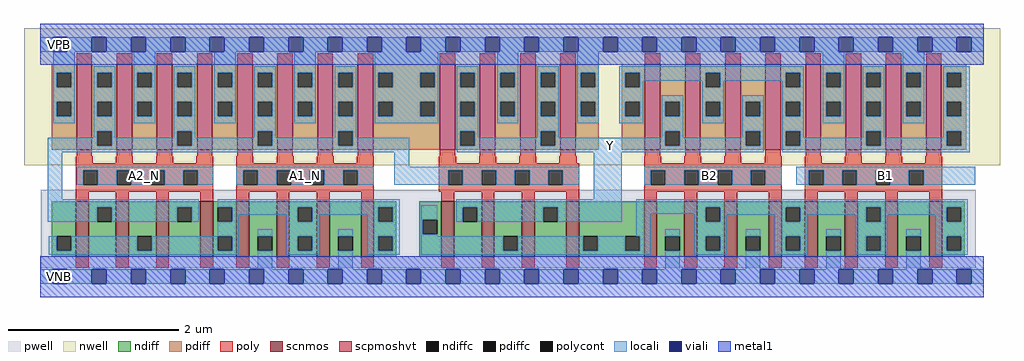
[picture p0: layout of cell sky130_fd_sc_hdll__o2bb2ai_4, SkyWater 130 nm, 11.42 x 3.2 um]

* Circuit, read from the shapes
.subckt sky130_fd_sc_hdll__o2bb2ai_4 A1_N A2_N B1 B2 VGND VNB VPB VPWR Y
XM1 n1 A2_N n2 VNB sky130_fd_pr__nfet_01v8 w=0.65 l=0.15 m=4
XM2 VGND A1_N n2 VNB sky130_fd_pr__nfet_01v8 w=0.65 l=0.15 m=4
XM3 Y n1 n3 VNB sky130_fd_pr__nfet_01v8 w=0.65 l=0.15 m=4
XM4 VGND B2 n3 VNB sky130_fd_pr__nfet_01v8 w=0.65 l=0.15 m=4
XM5 VGND B1 n3 VNB sky130_fd_pr__nfet_01v8 w=0.65 l=0.15 m=4
XM6 n1 A2_N VPWR VPB sky130_fd_pr__pfet_01v8_hvt w=1 l=0.18 m=4
XM7 n1 A1_N VPWR VPB sky130_fd_pr__pfet_01v8_hvt w=1 l=0.18 m=4
XM8 Y n1 VPWR VPB sky130_fd_pr__pfet_01v8_hvt w=1 l=0.18 m=4
XM9 Y B2 n4 VPB sky130_fd_pr__pfet_01v8_hvt w=1 l=0.18 m=4
XM10 VPWR B1 n4 VPB sky130_fd_pr__pfet_01v8_hvt w=1 l=0.18 m=4
.ends

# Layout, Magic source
magic
tech sky130A
magscale 1 2
<< nwell >>
rect -38 261 2246 582
<< pwell >>
rect 1 21 2189 203
rect 27 -17 61 21
<< scnmos >>
rect 83 47 113 177
rect 177 47 207 177
rect 271 47 301 177
rect 375 47 405 177
rect 459 47 489 177
rect 553 47 583 177
rect 647 47 677 177
rect 751 47 781 177
rect 939 47 969 177
rect 1033 47 1063 177
rect 1127 47 1157 177
rect 1231 47 1261 177
rect 1413 47 1443 177
rect 1507 47 1537 177
rect 1601 47 1631 177
rect 1705 47 1735 177
rect 1789 47 1819 177
rect 1883 47 1913 177
rect 1977 47 2007 177
rect 2081 47 2111 177
<< scpmoshvt >>
rect 85 297 121 497
rect 179 297 215 497
rect 273 297 309 497
rect 367 297 403 497
rect 461 297 497 497
rect 555 297 591 497
rect 649 297 685 497
rect 743 297 779 497
rect 935 297 971 497
rect 1029 297 1065 497
rect 1123 297 1159 497
rect 1217 297 1253 497
rect 1415 297 1451 497
rect 1509 297 1545 497
rect 1603 297 1639 497
rect 1697 297 1733 497
rect 1791 297 1827 497
rect 1885 297 1921 497
rect 1979 297 2015 497
rect 2073 297 2109 497
<< ndiff >>
rect 27 95 83 177
rect 27 61 39 95
rect 73 61 83 95
rect 27 47 83 61
rect 113 163 177 177
rect 113 129 133 163
rect 167 129 177 163
rect 113 47 177 129
rect 207 95 271 177
rect 207 61 227 95
rect 261 61 271 95
rect 207 47 271 61
rect 301 163 375 177
rect 301 129 321 163
rect 355 129 375 163
rect 301 47 375 129
rect 405 163 459 177
rect 405 129 415 163
rect 449 129 459 163
rect 405 95 459 129
rect 405 61 415 95
rect 449 61 459 95
rect 405 47 459 61
rect 489 95 553 177
rect 489 61 509 95
rect 543 61 553 95
rect 489 47 553 61
rect 583 163 647 177
rect 583 129 603 163
rect 637 129 647 163
rect 583 95 647 129
rect 583 61 603 95
rect 637 61 647 95
rect 583 47 647 61
rect 677 95 751 177
rect 677 61 697 95
rect 731 61 751 95
rect 677 47 751 61
rect 781 163 833 177
rect 781 129 791 163
rect 825 129 833 163
rect 781 95 833 129
rect 781 61 791 95
rect 825 61 833 95
rect 781 47 833 61
rect 887 133 939 177
rect 887 99 895 133
rect 929 99 939 133
rect 887 47 939 99
rect 969 163 1033 177
rect 969 129 989 163
rect 1023 129 1033 163
rect 969 47 1033 129
rect 1063 95 1127 177
rect 1063 61 1083 95
rect 1117 61 1127 95
rect 1063 47 1127 61
rect 1157 163 1231 177
rect 1157 129 1177 163
rect 1211 129 1231 163
rect 1157 47 1231 129
rect 1261 95 1413 177
rect 1261 61 1271 95
rect 1305 61 1369 95
rect 1403 61 1413 95
rect 1261 47 1413 61
rect 1443 95 1507 177
rect 1443 61 1463 95
rect 1497 61 1507 95
rect 1443 47 1507 61
rect 1537 163 1601 177
rect 1537 129 1557 163
rect 1591 129 1601 163
rect 1537 95 1601 129
rect 1537 61 1557 95
rect 1591 61 1601 95
rect 1537 47 1601 61
rect 1631 95 1705 177
rect 1631 61 1651 95
rect 1685 61 1705 95
rect 1631 47 1705 61
rect 1735 163 1789 177
rect 1735 129 1745 163
rect 1779 129 1789 163
rect 1735 95 1789 129
rect 1735 61 1745 95
rect 1779 61 1789 95
rect 1735 47 1789 61
rect 1819 95 1883 177
rect 1819 61 1839 95
rect 1873 61 1883 95
rect 1819 47 1883 61
rect 1913 163 1977 177
rect 1913 129 1933 163
rect 1967 129 1977 163
rect 1913 95 1977 129
rect 1913 61 1933 95
rect 1967 61 1977 95
rect 1913 47 1977 61
rect 2007 95 2081 177
rect 2007 61 2027 95
rect 2061 61 2081 95
rect 2007 47 2081 61
rect 2111 163 2163 177
rect 2111 129 2121 163
rect 2155 129 2163 163
rect 2111 95 2163 129
rect 2111 61 2121 95
rect 2155 61 2163 95
rect 2111 47 2163 61
<< pdiff >>
rect 27 477 85 497
rect 27 443 39 477
rect 73 443 85 477
rect 27 409 85 443
rect 27 375 39 409
rect 73 375 85 409
rect 27 297 85 375
rect 121 477 179 497
rect 121 443 133 477
rect 167 443 179 477
rect 121 409 179 443
rect 121 375 133 409
rect 167 375 179 409
rect 121 341 179 375
rect 121 307 133 341
rect 167 307 179 341
rect 121 297 179 307
rect 215 477 273 497
rect 215 443 227 477
rect 261 443 273 477
rect 215 409 273 443
rect 215 375 227 409
rect 261 375 273 409
rect 215 297 273 375
rect 309 477 367 497
rect 309 443 321 477
rect 355 443 367 477
rect 309 409 367 443
rect 309 375 321 409
rect 355 375 367 409
rect 309 341 367 375
rect 309 307 321 341
rect 355 307 367 341
rect 309 297 367 307
rect 403 477 461 497
rect 403 443 415 477
rect 449 443 461 477
rect 403 409 461 443
rect 403 375 415 409
rect 449 375 461 409
rect 403 297 461 375
rect 497 477 555 497
rect 497 443 509 477
rect 543 443 555 477
rect 497 409 555 443
rect 497 375 509 409
rect 543 375 555 409
rect 497 341 555 375
rect 497 307 509 341
rect 543 307 555 341
rect 497 297 555 307
rect 591 477 649 497
rect 591 443 603 477
rect 637 443 649 477
rect 591 409 649 443
rect 591 375 603 409
rect 637 375 649 409
rect 591 297 649 375
rect 685 477 743 497
rect 685 443 697 477
rect 731 443 743 477
rect 685 409 743 443
rect 685 375 697 409
rect 731 375 743 409
rect 685 341 743 375
rect 685 307 697 341
rect 731 307 743 341
rect 685 297 743 307
rect 779 477 935 497
rect 779 443 791 477
rect 825 443 889 477
rect 923 443 935 477
rect 779 409 935 443
rect 779 375 791 409
rect 825 375 889 409
rect 923 375 935 409
rect 779 297 935 375
rect 971 477 1029 497
rect 971 443 983 477
rect 1017 443 1029 477
rect 971 409 1029 443
rect 971 375 983 409
rect 1017 375 1029 409
rect 971 341 1029 375
rect 971 307 983 341
rect 1017 307 1029 341
rect 971 297 1029 307
rect 1065 477 1123 497
rect 1065 443 1077 477
rect 1111 443 1123 477
rect 1065 409 1123 443
rect 1065 375 1077 409
rect 1111 375 1123 409
rect 1065 297 1123 375
rect 1159 477 1217 497
rect 1159 443 1171 477
rect 1205 443 1217 477
rect 1159 409 1217 443
rect 1159 375 1171 409
rect 1205 375 1217 409
rect 1159 341 1217 375
rect 1159 307 1171 341
rect 1205 307 1217 341
rect 1159 297 1217 307
rect 1253 477 1307 497
rect 1253 443 1265 477
rect 1299 443 1307 477
rect 1253 409 1307 443
rect 1253 375 1265 409
rect 1299 375 1307 409
rect 1253 297 1307 375
rect 1361 477 1415 497
rect 1361 443 1369 477
rect 1403 443 1415 477
rect 1361 409 1415 443
rect 1361 375 1369 409
rect 1403 375 1415 409
rect 1361 297 1415 375
rect 1451 409 1509 497
rect 1451 375 1463 409
rect 1497 375 1509 409
rect 1451 341 1509 375
rect 1451 307 1463 341
rect 1497 307 1509 341
rect 1451 297 1509 307
rect 1545 477 1603 497
rect 1545 443 1557 477
rect 1591 443 1603 477
rect 1545 409 1603 443
rect 1545 375 1557 409
rect 1591 375 1603 409
rect 1545 297 1603 375
rect 1639 409 1697 497
rect 1639 375 1651 409
rect 1685 375 1697 409
rect 1639 341 1697 375
rect 1639 307 1651 341
rect 1685 307 1697 341
rect 1639 297 1697 307
rect 1733 477 1791 497
rect 1733 443 1745 477
rect 1779 443 1791 477
rect 1733 409 1791 443
rect 1733 375 1745 409
rect 1779 375 1791 409
rect 1733 341 1791 375
rect 1733 307 1745 341
rect 1779 307 1791 341
rect 1733 297 1791 307
rect 1827 477 1885 497
rect 1827 443 1839 477
rect 1873 443 1885 477
rect 1827 409 1885 443
rect 1827 375 1839 409
rect 1873 375 1885 409
rect 1827 297 1885 375
rect 1921 477 1979 497
rect 1921 443 1933 477
rect 1967 443 1979 477
rect 1921 409 1979 443
rect 1921 375 1933 409
rect 1967 375 1979 409
rect 1921 341 1979 375
rect 1921 307 1933 341
rect 1967 307 1979 341
rect 1921 297 1979 307
rect 2015 477 2073 497
rect 2015 443 2027 477
rect 2061 443 2073 477
rect 2015 409 2073 443
rect 2015 375 2027 409
rect 2061 375 2073 409
rect 2015 297 2073 375
rect 2109 477 2167 497
rect 2109 443 2121 477
rect 2155 443 2167 477
rect 2109 409 2167 443
rect 2109 375 2121 409
rect 2155 375 2167 409
rect 2109 341 2167 375
rect 2109 307 2121 341
rect 2155 307 2167 341
rect 2109 297 2167 307
<< ndiffc >>
rect 39 61 73 95
rect 133 129 167 163
rect 227 61 261 95
rect 321 129 355 163
rect 415 129 449 163
rect 415 61 449 95
rect 509 61 543 95
rect 603 129 637 163
rect 603 61 637 95
rect 697 61 731 95
rect 791 129 825 163
rect 791 61 825 95
rect 895 99 929 133
rect 989 129 1023 163
rect 1083 61 1117 95
rect 1177 129 1211 163
rect 1271 61 1305 95
rect 1369 61 1403 95
rect 1463 61 1497 95
rect 1557 129 1591 163
rect 1557 61 1591 95
rect 1651 61 1685 95
rect 1745 129 1779 163
rect 1745 61 1779 95
rect 1839 61 1873 95
rect 1933 129 1967 163
rect 1933 61 1967 95
rect 2027 61 2061 95
rect 2121 129 2155 163
rect 2121 61 2155 95
<< pdiffc >>
rect 39 443 73 477
rect 39 375 73 409
rect 133 443 167 477
rect 133 375 167 409
rect 133 307 167 341
rect 227 443 261 477
rect 227 375 261 409
rect 321 443 355 477
rect 321 375 355 409
rect 321 307 355 341
rect 415 443 449 477
rect 415 375 449 409
rect 509 443 543 477
rect 509 375 543 409
rect 509 307 543 341
rect 603 443 637 477
rect 603 375 637 409
rect 697 443 731 477
rect 697 375 731 409
rect 697 307 731 341
rect 791 443 825 477
rect 889 443 923 477
rect 791 375 825 409
rect 889 375 923 409
rect 983 443 1017 477
rect 983 375 1017 409
rect 983 307 1017 341
rect 1077 443 1111 477
rect 1077 375 1111 409
rect 1171 443 1205 477
rect 1171 375 1205 409
rect 1171 307 1205 341
rect 1265 443 1299 477
rect 1265 375 1299 409
rect 1369 443 1403 477
rect 1369 375 1403 409
rect 1463 375 1497 409
rect 1463 307 1497 341
rect 1557 443 1591 477
rect 1557 375 1591 409
rect 1651 375 1685 409
rect 1651 307 1685 341
rect 1745 443 1779 477
rect 1745 375 1779 409
rect 1745 307 1779 341
rect 1839 443 1873 477
rect 1839 375 1873 409
rect 1933 443 1967 477
rect 1933 375 1967 409
rect 1933 307 1967 341
rect 2027 443 2061 477
rect 2027 375 2061 409
rect 2121 443 2155 477
rect 2121 375 2155 409
rect 2121 307 2155 341
<< poly >>
rect 85 497 121 523
rect 179 497 215 523
rect 273 497 309 523
rect 367 497 403 523
rect 461 497 497 523
rect 555 497 591 523
rect 649 497 685 523
rect 743 497 779 523
rect 935 497 971 523
rect 1029 497 1065 523
rect 1123 497 1159 523
rect 1217 497 1253 523
rect 1415 497 1451 523
rect 1509 497 1545 523
rect 1603 497 1639 523
rect 1697 497 1733 523
rect 1791 497 1827 523
rect 1885 497 1921 523
rect 1979 497 2015 523
rect 2073 497 2109 523
rect 85 282 121 297
rect 179 282 215 297
rect 273 282 309 297
rect 367 282 403 297
rect 461 282 497 297
rect 555 282 591 297
rect 649 282 685 297
rect 743 282 779 297
rect 935 282 971 297
rect 1029 282 1065 297
rect 1123 282 1159 297
rect 1217 282 1253 297
rect 1415 282 1451 297
rect 1509 282 1545 297
rect 1603 282 1639 297
rect 1697 282 1733 297
rect 1791 282 1827 297
rect 1885 282 1921 297
rect 1979 282 2015 297
rect 2073 282 2109 297
rect 83 265 123 282
rect 177 265 217 282
rect 271 265 311 282
rect 365 265 405 282
rect 83 249 405 265
rect 83 215 101 249
rect 135 215 179 249
rect 213 215 257 249
rect 291 215 335 249
rect 369 215 405 249
rect 83 199 405 215
rect 83 177 113 199
rect 177 177 207 199
rect 271 177 301 199
rect 375 177 405 199
rect 459 265 499 282
rect 553 265 593 282
rect 647 265 687 282
rect 741 265 781 282
rect 459 249 781 265
rect 459 215 475 249
rect 509 215 553 249
rect 587 215 631 249
rect 665 215 709 249
rect 743 215 781 249
rect 459 199 781 215
rect 933 265 973 282
rect 1027 265 1067 282
rect 1121 265 1161 282
rect 1215 265 1255 282
rect 1413 265 1453 282
rect 1507 265 1547 282
rect 1601 265 1641 282
rect 1695 265 1735 282
rect 933 249 1261 265
rect 933 215 955 249
rect 989 215 1033 249
rect 1067 215 1111 249
rect 1145 215 1189 249
rect 1223 215 1261 249
rect 933 199 1261 215
rect 459 177 489 199
rect 553 177 583 199
rect 647 177 677 199
rect 751 177 781 199
rect 939 177 969 199
rect 1033 177 1063 199
rect 1127 177 1157 199
rect 1231 177 1261 199
rect 1413 249 1735 265
rect 1413 215 1429 249
rect 1463 215 1507 249
rect 1541 215 1585 249
rect 1619 215 1663 249
rect 1697 215 1735 249
rect 1413 199 1735 215
rect 1413 177 1443 199
rect 1507 177 1537 199
rect 1601 177 1631 199
rect 1705 177 1735 199
rect 1789 265 1829 282
rect 1883 265 1923 282
rect 1977 265 2017 282
rect 2071 265 2111 282
rect 1789 249 2111 265
rect 1789 215 1799 249
rect 1833 215 1877 249
rect 1911 215 1955 249
rect 1989 215 2033 249
rect 2067 215 2111 249
rect 1789 199 2111 215
rect 1789 177 1819 199
rect 1883 177 1913 199
rect 1977 177 2007 199
rect 2081 177 2111 199
rect 83 21 113 47
rect 177 21 207 47
rect 271 21 301 47
rect 375 21 405 47
rect 459 21 489 47
rect 553 21 583 47
rect 647 21 677 47
rect 751 21 781 47
rect 939 21 969 47
rect 1033 21 1063 47
rect 1127 21 1157 47
rect 1231 21 1261 47
rect 1413 21 1443 47
rect 1507 21 1537 47
rect 1601 21 1631 47
rect 1705 21 1735 47
rect 1789 21 1819 47
rect 1883 21 1913 47
rect 1977 21 2007 47
rect 2081 21 2111 47
<< polycont >>
rect 101 215 135 249
rect 179 215 213 249
rect 257 215 291 249
rect 335 215 369 249
rect 475 215 509 249
rect 553 215 587 249
rect 631 215 665 249
rect 709 215 743 249
rect 955 215 989 249
rect 1033 215 1067 249
rect 1111 215 1145 249
rect 1189 215 1223 249
rect 1429 215 1463 249
rect 1507 215 1541 249
rect 1585 215 1619 249
rect 1663 215 1697 249
rect 1799 215 1833 249
rect 1877 215 1911 249
rect 1955 215 1989 249
rect 2033 215 2067 249
<< locali >>
rect 0 527 29 561
rect 63 527 121 561
rect 155 527 213 561
rect 247 527 305 561
rect 339 527 397 561
rect 431 527 489 561
rect 523 527 581 561
rect 615 527 673 561
rect 707 527 765 561
rect 799 527 857 561
rect 891 527 949 561
rect 983 527 1041 561
rect 1075 527 1133 561
rect 1167 527 1225 561
rect 1259 527 1317 561
rect 1351 527 1409 561
rect 1443 527 1501 561
rect 1535 527 1593 561
rect 1627 527 1685 561
rect 1719 527 1777 561
rect 1811 527 1869 561
rect 1903 527 1961 561
rect 1995 527 2053 561
rect 2087 527 2145 561
rect 2179 527 2208 561
rect 31 477 81 527
rect 31 443 39 477
rect 73 443 81 477
rect 31 409 81 443
rect 31 375 39 409
rect 73 375 81 409
rect 31 359 81 375
rect 125 477 175 493
rect 125 443 133 477
rect 167 443 175 477
rect 125 409 175 443
rect 125 375 133 409
rect 167 375 175 409
rect 125 341 175 375
rect 219 477 269 527
rect 219 443 227 477
rect 261 443 269 477
rect 219 409 269 443
rect 219 375 227 409
rect 261 375 269 409
rect 219 359 269 375
rect 313 477 363 493
rect 313 443 321 477
rect 355 443 363 477
rect 313 409 363 443
rect 313 375 321 409
rect 355 375 363 409
rect 125 325 133 341
rect 17 307 133 325
rect 167 325 175 341
rect 313 341 363 375
rect 407 477 457 527
rect 407 443 415 477
rect 449 443 457 477
rect 407 409 457 443
rect 407 375 415 409
rect 449 375 457 409
rect 407 359 457 375
rect 501 477 551 493
rect 501 443 509 477
rect 543 443 551 477
rect 501 409 551 443
rect 501 375 509 409
rect 543 375 551 409
rect 313 325 321 341
rect 167 307 321 325
rect 355 325 363 341
rect 501 341 551 375
rect 595 477 645 527
rect 595 443 603 477
rect 637 443 645 477
rect 595 409 645 443
rect 595 375 603 409
rect 637 375 645 409
rect 595 359 645 375
rect 689 477 739 493
rect 689 443 697 477
rect 731 443 739 477
rect 689 409 739 443
rect 689 375 697 409
rect 731 375 739 409
rect 501 325 509 341
rect 355 307 509 325
rect 543 325 551 341
rect 689 341 739 375
rect 783 477 931 527
rect 783 443 791 477
rect 825 443 889 477
rect 923 443 931 477
rect 783 409 931 443
rect 783 375 791 409
rect 825 375 889 409
rect 923 375 931 409
rect 783 359 931 375
rect 975 477 1025 493
rect 975 443 983 477
rect 1017 443 1025 477
rect 975 409 1025 443
rect 975 375 983 409
rect 1017 375 1025 409
rect 689 325 697 341
rect 543 307 697 325
rect 731 325 739 341
rect 975 341 1025 375
rect 1069 477 1119 527
rect 1069 443 1077 477
rect 1111 443 1119 477
rect 1069 409 1119 443
rect 1069 375 1077 409
rect 1111 375 1119 409
rect 1069 359 1119 375
rect 1163 477 1213 493
rect 1163 443 1171 477
rect 1205 443 1213 477
rect 1163 409 1213 443
rect 1163 375 1171 409
rect 1205 375 1213 409
rect 731 307 863 325
rect 17 291 863 307
rect 975 307 983 341
rect 1017 325 1025 341
rect 1163 341 1213 375
rect 1257 477 1307 527
rect 1257 443 1265 477
rect 1299 443 1307 477
rect 1257 409 1307 443
rect 1257 375 1265 409
rect 1299 375 1307 409
rect 1257 359 1307 375
rect 1355 477 1787 493
rect 1355 443 1369 477
rect 1403 459 1557 477
rect 1403 443 1411 459
rect 1355 409 1411 443
rect 1549 443 1557 459
rect 1591 459 1745 477
rect 1591 443 1599 459
rect 1355 375 1369 409
rect 1403 375 1411 409
rect 1355 359 1411 375
rect 1455 409 1505 425
rect 1455 375 1463 409
rect 1497 375 1505 409
rect 1163 325 1171 341
rect 1017 307 1171 325
rect 1205 325 1213 341
rect 1455 341 1505 375
rect 1549 409 1599 443
rect 1737 443 1745 459
rect 1779 443 1787 477
rect 1549 375 1557 409
rect 1591 375 1599 409
rect 1549 359 1599 375
rect 1643 409 1693 425
rect 1643 375 1651 409
rect 1685 375 1693 409
rect 1455 325 1463 341
rect 1205 307 1463 325
rect 1497 325 1505 341
rect 1643 341 1693 375
rect 1643 325 1651 341
rect 1497 307 1651 325
rect 1685 307 1693 341
rect 975 291 1693 307
rect 1737 409 1787 443
rect 1737 375 1745 409
rect 1779 375 1787 409
rect 1737 341 1787 375
rect 1831 477 1881 527
rect 1831 443 1839 477
rect 1873 443 1881 477
rect 1831 409 1881 443
rect 1831 375 1839 409
rect 1873 375 1881 409
rect 1831 359 1881 375
rect 1925 477 1975 493
rect 1925 443 1933 477
rect 1967 443 1975 477
rect 1925 409 1975 443
rect 1925 375 1933 409
rect 1967 375 1975 409
rect 1737 307 1745 341
rect 1779 325 1787 341
rect 1925 341 1975 375
rect 2019 477 2069 527
rect 2019 443 2027 477
rect 2061 443 2069 477
rect 2019 409 2069 443
rect 2019 375 2027 409
rect 2061 375 2069 409
rect 2019 359 2069 375
rect 2113 477 2175 493
rect 2113 443 2121 477
rect 2155 443 2175 477
rect 2113 409 2175 443
rect 2113 375 2121 409
rect 2155 375 2175 409
rect 1925 325 1933 341
rect 1779 307 1933 325
rect 1967 325 1975 341
rect 2113 341 2175 375
rect 2113 325 2121 341
rect 1967 307 2121 325
rect 2155 307 2175 341
rect 1737 291 2175 307
rect 17 181 51 291
rect 829 257 863 291
rect 85 249 405 257
rect 85 215 101 249
rect 135 215 179 249
rect 213 215 257 249
rect 291 215 335 249
rect 369 215 405 249
rect 459 249 781 257
rect 459 215 475 249
rect 509 215 553 249
rect 587 215 631 249
rect 665 215 709 249
rect 743 215 781 249
rect 829 249 1261 257
rect 829 215 955 249
rect 989 215 1033 249
rect 1067 215 1111 249
rect 1145 215 1189 249
rect 1223 215 1261 249
rect 1295 181 1361 291
rect 1413 249 1735 257
rect 1413 215 1429 249
rect 1463 215 1507 249
rect 1541 215 1585 249
rect 1619 215 1663 249
rect 1697 215 1735 249
rect 1769 249 2188 257
rect 1769 215 1799 249
rect 1833 215 1877 249
rect 1911 215 1955 249
rect 1989 215 2033 249
rect 2067 215 2188 249
rect 17 163 371 181
rect 17 129 133 163
rect 167 129 321 163
rect 355 129 371 163
rect 415 163 841 181
rect 449 145 603 163
rect 449 129 465 145
rect 415 95 465 129
rect 577 129 603 145
rect 637 145 791 163
rect 637 129 653 145
rect 20 61 39 95
rect 73 61 227 95
rect 261 61 415 95
rect 449 61 465 95
rect 20 51 465 61
rect 509 95 543 111
rect 509 17 543 61
rect 577 95 653 129
rect 765 129 791 145
rect 825 129 841 163
rect 577 61 603 95
rect 637 61 653 95
rect 577 51 653 61
rect 697 95 731 111
rect 697 17 731 61
rect 765 95 841 129
rect 765 61 791 95
rect 825 61 841 95
rect 765 51 841 61
rect 892 133 929 167
rect 892 99 895 133
rect 973 163 1361 181
rect 973 129 989 163
rect 1023 129 1177 163
rect 1211 129 1361 163
rect 1395 163 2171 181
rect 1395 147 1557 163
rect 892 95 929 99
rect 1395 95 1429 147
rect 1531 129 1557 147
rect 1591 145 1745 163
rect 1591 129 1607 145
rect 892 61 1083 95
rect 1117 61 1271 95
rect 1305 61 1369 95
rect 1403 61 1429 95
rect 892 51 1429 61
rect 1463 95 1497 111
rect 1463 17 1497 61
rect 1531 95 1607 129
rect 1719 129 1745 145
rect 1779 145 1933 163
rect 1779 129 1795 145
rect 1531 61 1557 95
rect 1591 61 1607 95
rect 1531 51 1607 61
rect 1651 95 1685 111
rect 1651 17 1685 61
rect 1719 95 1795 129
rect 1907 129 1933 145
rect 1967 145 2121 163
rect 1967 129 1983 145
rect 1719 61 1745 95
rect 1779 61 1795 95
rect 1719 51 1795 61
rect 1839 95 1873 111
rect 1839 17 1873 61
rect 1907 95 1983 129
rect 2095 129 2121 145
rect 2155 129 2171 163
rect 1907 61 1933 95
rect 1967 61 1983 95
rect 1907 51 1983 61
rect 2027 95 2061 111
rect 2027 17 2061 61
rect 2095 95 2171 129
rect 2095 61 2121 95
rect 2155 61 2171 95
rect 2095 51 2171 61
rect 0 -17 29 17
rect 63 -17 121 17
rect 155 -17 213 17
rect 247 -17 305 17
rect 339 -17 397 17
rect 431 -17 489 17
rect 523 -17 581 17
rect 615 -17 673 17
rect 707 -17 765 17
rect 799 -17 857 17
rect 891 -17 949 17
rect 983 -17 1041 17
rect 1075 -17 1133 17
rect 1167 -17 1225 17
rect 1259 -17 1317 17
rect 1351 -17 1409 17
rect 1443 -17 1501 17
rect 1535 -17 1593 17
rect 1627 -17 1685 17
rect 1719 -17 1777 17
rect 1811 -17 1869 17
rect 1903 -17 1961 17
rect 1995 -17 2053 17
rect 2087 -17 2145 17
rect 2179 -17 2208 17
<< viali >>
rect 29 527 63 561
rect 121 527 155 561
rect 213 527 247 561
rect 305 527 339 561
rect 397 527 431 561
rect 489 527 523 561
rect 581 527 615 561
rect 673 527 707 561
rect 765 527 799 561
rect 857 527 891 561
rect 949 527 983 561
rect 1041 527 1075 561
rect 1133 527 1167 561
rect 1225 527 1259 561
rect 1317 527 1351 561
rect 1409 527 1443 561
rect 1501 527 1535 561
rect 1593 527 1627 561
rect 1685 527 1719 561
rect 1777 527 1811 561
rect 1869 527 1903 561
rect 1961 527 1995 561
rect 2053 527 2087 561
rect 2145 527 2179 561
rect 29 -17 63 17
rect 121 -17 155 17
rect 213 -17 247 17
rect 305 -17 339 17
rect 397 -17 431 17
rect 489 -17 523 17
rect 581 -17 615 17
rect 673 -17 707 17
rect 765 -17 799 17
rect 857 -17 891 17
rect 949 -17 983 17
rect 1041 -17 1075 17
rect 1133 -17 1167 17
rect 1225 -17 1259 17
rect 1317 -17 1351 17
rect 1409 -17 1443 17
rect 1501 -17 1535 17
rect 1593 -17 1627 17
rect 1685 -17 1719 17
rect 1777 -17 1811 17
rect 1869 -17 1903 17
rect 1961 -17 1995 17
rect 2053 -17 2087 17
rect 2145 -17 2179 17
<< metal1 >>
rect 0 561 2208 592
rect 0 527 29 561
rect 63 527 121 561
rect 155 527 213 561
rect 247 527 305 561
rect 339 527 397 561
rect 431 527 489 561
rect 523 527 581 561
rect 615 527 673 561
rect 707 527 765 561
rect 799 527 857 561
rect 891 527 949 561
rect 983 527 1041 561
rect 1075 527 1133 561
rect 1167 527 1225 561
rect 1259 527 1317 561
rect 1351 527 1409 561
rect 1443 527 1501 561
rect 1535 527 1593 561
rect 1627 527 1685 561
rect 1719 527 1777 561
rect 1811 527 1869 561
rect 1903 527 1961 561
rect 1995 527 2053 561
rect 2087 527 2145 561
rect 2179 527 2208 561
rect 0 496 2208 527
rect 0 17 2208 48
rect 0 -17 29 17
rect 63 -17 121 17
rect 155 -17 213 17
rect 247 -17 305 17
rect 339 -17 397 17
rect 431 -17 489 17
rect 523 -17 581 17
rect 615 -17 673 17
rect 707 -17 765 17
rect 799 -17 857 17
rect 891 -17 949 17
rect 983 -17 1041 17
rect 1075 -17 1133 17
rect 1167 -17 1225 17
rect 1259 -17 1317 17
rect 1351 -17 1409 17
rect 1443 -17 1501 17
rect 1535 -17 1593 17
rect 1627 -17 1685 17
rect 1719 -17 1777 17
rect 1811 -17 1869 17
rect 1903 -17 1961 17
rect 1995 -17 2053 17
rect 2087 -17 2145 17
rect 2179 -17 2208 17
rect 0 -48 2208 -17
<< labels >>
flabel locali s 459 215 781 257 0 FreeSans 400 0 0 0 A1_N
port 1 nsew signal input
flabel locali s 1960 221 1994 255 0 FreeSans 400 0 0 0 B1
port 3 nsew signal input
flabel locali s 1549 221 1583 255 0 FreeSans 400 0 0 0 B2
port 4 nsew signal input
flabel locali s 85 215 405 257 0 FreeSans 400 0 0 0 A2_N
port 2 nsew signal input
flabel locali s 1317 289 1351 323 0 FreeSans 400 0 0 0 Y
port 9 nsew signal output
flabel nwell s 27 527 61 561 0 FreeSans 200 0 0 0 VPB
port 7 nsew power bidirectional
flabel pwell s 27 -17 61 17 0 FreeSans 200 0 0 0 VNB
port 6 nsew ground bidirectional
flabel metal1 s 27 -17 61 17 0 FreeSans 200 0 0 0 VGND
port 5 nsew ground bidirectional
flabel metal1 s 27 527 61 561 0 FreeSans 200 0 0 0 VPWR
port 8 nsew power bidirectional
rlabel comment s 0 0 0 0 4 o2bb2ai_4
<< properties >>
string LEFsite unithd
string LEFclass CORE
string FIXED_BBOX 0 0 2208 544
string GDS_FILE $PDKPATH/libs.ref/sky130_fd_sc_hdll/gds/sky130_fd_sc_hdll.gds
string LEFsymmetry X Y R90
string GDS_END 2590686
string GDS_START 2574996
string LEFproperties maskLayoutSubType "abstract" prCellType "standard" originalViewName "layout"
<< end >>
